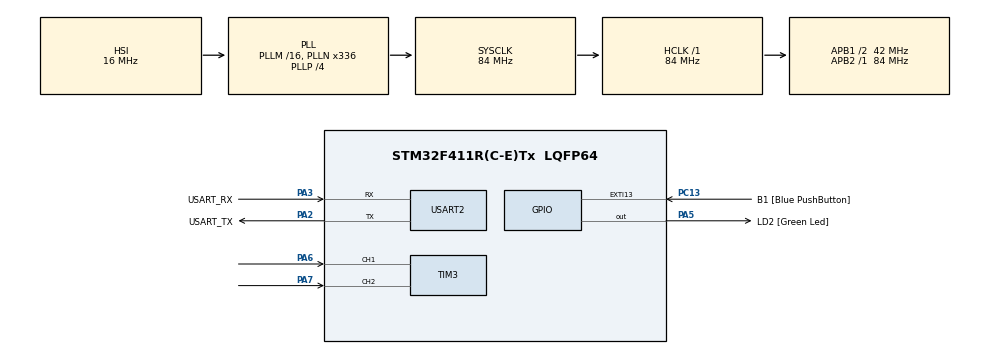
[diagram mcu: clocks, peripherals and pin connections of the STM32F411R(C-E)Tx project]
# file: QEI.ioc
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Mcu.Family=STM32F4
Mcu.Name=STM32F411R(C-E)Tx
Mcu.Package=LQFP64
Mcu.UserConstants=QEI_PERIOD,65412
NVIC.PriorityGroup=NVIC_PRIORITYGROUP_0
NVIC.TIM5_IRQn=true\:0\:0\:false\:false\:true\:true\:true\:true
PA13.GPIO_Label=TMS
PA13.Mode=Trace_Asynchronous_SW
PA13.Signal=SYS_JTMS-SWDIO
PA14.GPIO_Label=TCK
PA14.Mode=Trace_Asynchronous_SW
PA14.Signal=SYS_JTCK-SWCLK
PA2.GPIO_Label=USART_TX
PA2.Mode=Asynchronous
PA2.Signal=USART2_TX
PA3.GPIO_Label=USART_RX
PA3.Mode=Asynchronous
PA3.Signal=USART2_RX
PA5.GPIO_Label=LD2 [Green Led]
PA5.Signal=GPIO_Output
PA6.Signal=S_TIM3_CH1
PA7.Signal=S_TIM3_CH2
PB3.GPIO_Label=SWO
PB3.Mode=Trace_Asynchronous_SW
PB3.Signal=SYS_JTDO-SWO
PC13-ANTI_TAMP.GPIO_Label=B1 [Blue PushButton]
PC13-ANTI_TAMP.GPIO_ModeDefaultEXTI=GPIO_MODE_IT_FALLING
PC13-ANTI_TAMP.Signal=GPXTI13
PC14-OSC32_IN.Mode=LSE-External-Oscillator
PC14-OSC32_IN.Signal=RCC_OSC32_IN
PC15-OSC32_OUT.Mode=LSE-External-Oscillator
PC15-OSC32_OUT.Signal=RCC_OSC32_OUT
PH0\ -\ OSC_IN.Mode=HSE-External-Clock-Source
PH0\ -\ OSC_IN.Signal=RCC_OSC_IN
PH1\ -\ OSC_OUT.Mode=HSE-External-Clock-Source
PH1\ -\ OSC_OUT.Signal=RCC_OSC_OUT
ProjectManager.HeapSize=0x200
ProjectManager.StackSize=0x400
ProjectManager.TargetToolchain=STM32CubeIDE
RCC.48MHZClocksFreq_Value=84000000
RCC.AHBFreq_Value=84000000
RCC.APB1CLKDivider=RCC_HCLK_DIV2
RCC.APB1Freq_Value=42000000
RCC.APB1TimFreq_Value=84000000
RCC.APB2Freq_Value=84000000
RCC.APB2TimFreq_Value=84000000
RCC.CortexFreq_Value=84000000
RCC.FLatency-AdvancedSettings=FLASH_LATENCY_2
RCC.HCLKFreq_Value=84000000
RCC.HSE_VALUE=8000000
RCC.HSI_VALUE=16000000
RCC.PLLN=336
RCC.PLLP=RCC_PLLP_DIV4
RCC.SYSCLKFreq_VALUE=84000000
RCC.SYSCLKSource=RCC_SYSCLKSOURCE_PLLCLK
RCC.VCOOutputFreq_Value=336000000
SH.S_TIM3_CH1.0=TIM3_CH1,Encoder_Interface
SH.S_TIM3_CH2.0=TIM3_CH2,Encoder_Interface
TIM3.EncoderMode=TIM_ENCODERMODE_TI12
TIM3.Period=QEI_PERIOD - 1
TIM5.Prescaler=83
USART2.VirtualMode=VM_ASYNC
VP_TIM5_VS_ClockSourceINT.Mode=Internal
board=NUCLEO-F411RE

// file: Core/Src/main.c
/* USER CODE BEGIN Header */
/**
  ******************************************************************************
  * @file           : main.c
  * @brief          : Main program body
  ******************************************************************************
  * @attention
  *
  * Copyright (c) 2023 STMicroelectronics.
  * All rights reserved.
  *
  * This software is licensed under terms that can be found in the LICENSE file
  * in the root directory of this software component.
  * If no LICENSE file comes with this software, it is provided AS-IS.
  *
  ******************************************************************************
  */
/* USER CODE END Header */
#include "main.h"

TIM_HandleTypeDef htim3;
TIM_HandleTypeDef htim5;

UART_HandleTypeDef huart2;

/* USER CODE BEGIN PV */
uint32_t QEIReadRaw;
float angle;
typedef struct _QEIStructure
{
	uint32_t data[2];
	uint64_t timestamp[2];

	float QEIPosition;
	float QEIVelocity;

}QEIStructureTypedef;

QEIStructureTypedef QEIData = {0};

uint64_t _micros = 0;

/* USER CODE END PV */

void SystemClock_Config(void);
static void MX_GPIO_Init(void);
static void MX_USART2_UART_Init(void);
static void MX_TIM3_Init(void);
static void MX_TIM5_Init(void);
/* USER CODE BEGIN PFP */
inline uint64_t micros();
void QEIEncoderPositionVelocity_Update();
/* USER CODE END PFP */

int main(void)
{

  /* MCU Configuration--------------------------------------------------------*/

  /* Reset of all peripherals, Initializes the Flash interface and the Systick. */
  HAL_Init();

  /* Configure the system clock */
  SystemClock_Config();

  /* Initialize all configured peripherals */
  MX_GPIO_Init();
  MX_USART2_UART_Init();
  MX_TIM3_Init();
  MX_TIM5_Init();
  /* USER CODE BEGIN 2 */
HAL_TIM_Encoder_Start(&htim3,TIM_CHANNEL_1 | TIM_CHANNEL_2);
HAL_TIM_Base_Start(&htim5);
  /* USER CODE END 2 */

  /* Infinite loop */
  while (1)
  {

    /* USER CODE BEGIN 3 */
	  static uint32_t timestamp = 0;
	  if(HAL_GetTick() > timestamp){
		  timestamp = HAL_GetTick() + 10000;
		  QEIReadRaw = __HAL_TIM_GET_COUNTER(&htim3);
		  angle = (QEIReadRaw/3072.0) * 360.0;
		  printf("Position = %ld\n", QEIReadRaw);

		  QEIEncoderPositionVelocity_Update();
	  }

  }
  /* USER CODE END 3 */
}

void SystemClock_Config(void)
{
  RCC_OscInitTypeDef RCC_OscInitStruct = {0};
  RCC_ClkInitTypeDef RCC_ClkInitStruct = {0};

  /** Configure the main internal regulator output voltage
  */
  __HAL_RCC_PWR_CLK_ENABLE();
  __HAL_PWR_VOLTAGESCALING_CONFIG(PWR_REGULATOR_VOLTAGE_SCALE1);

  /** Initializes the RCC Oscillators according to the specified parameters
  * in the RCC_OscInitTypeDef structure.
  */
  RCC_OscInitStruct.OscillatorType = RCC_OSCILLATORTYPE_HSI;
  RCC_OscInitStruct.HSIState = RCC_HSI_ON;
  RCC_OscInitStruct.HSICalibrationValue = RCC_HSICALIBRATION_DEFAULT;
  RCC_OscInitStruct.PLL.PLLState = RCC_PLL_ON;
  RCC_OscInitStruct.PLL.PLLSource = RCC_PLLSOURCE_HSI;
  RCC_OscInitStruct.PLL.PLLM = 16;
  RCC_OscInitStruct.PLL.PLLN = 336;
  RCC_OscInitStruct.PLL.PLLP = RCC_PLLP_DIV4;
  RCC_OscInitStruct.PLL.PLLQ = 4;
  if (HAL_RCC_OscConfig(&RCC_OscInitStruct) != HAL_OK)
  {
    Error_Handler();
  }

  /** Initializes the CPU, AHB and APB buses clocks
  */
  RCC_ClkInitStruct.ClockType = RCC_CLOCKTYPE_HCLK|RCC_CLOCKTYPE_SYSCLK
                              |RCC_CLOCKTYPE_PCLK1|RCC_CLOCKTYPE_PCLK2;
  RCC_ClkInitStruct.SYSCLKSource = RCC_SYSCLKSOURCE_PLLCLK;
  RCC_ClkInitStruct.AHBCLKDivider = RCC_SYSCLK_DIV1;
  RCC_ClkInitStruct.APB1CLKDivider = RCC_HCLK_DIV2;
  RCC_ClkInitStruct.APB2CLKDivider = RCC_HCLK_DIV1;

  if (HAL_RCC_ClockConfig(&RCC_ClkInitStruct, FLASH_LATENCY_2) != HAL_OK)
  {
    Error_Handler();
  }
}

static void MX_TIM3_Init(void)
{

  TIM_Encoder_InitTypeDef sConfig = {0};
  TIM_MasterConfigTypeDef sMasterConfig = {0};

  htim3.Instance = TIM3;
  htim3.Init.Prescaler = 0;
  htim3.Init.CounterMode = TIM_COUNTERMODE_UP;
  htim3.Init.Period = QEI_PERIOD - 1;
  htim3.Init.ClockDivision = TIM_CLOCKDIVISION_DIV1;
  htim3.Init.AutoReloadPreload = TIM_AUTORELOAD_PRELOAD_DISABLE;
  sConfig.EncoderMode = TIM_ENCODERMODE_TI12;
  sConfig.IC1Polarity = TIM_ICPOLARITY_RISING;
  sConfig.IC1Selection = TIM_ICSELECTION_DIRECTTI;
  sConfig.IC1Prescaler = TIM_ICPSC_DIV1;
  sConfig.IC1Filter = 0;
  sConfig.IC2Polarity = TIM_ICPOLARITY_RISING;
  sConfig.IC2Selection = TIM_ICSELECTION_DIRECTTI;
  sConfig.IC2Prescaler = TIM_ICPSC_DIV1;
  sConfig.IC2Filter = 0;
  if (HAL_TIM_Encoder_Init(&htim3, &sConfig) != HAL_OK)
  {
    Error_Handler();
  }
  sMasterConfig.MasterOutputTrigger = TIM_TRGO_RESET;
  sMasterConfig.MasterSlaveMode = TIM_MASTERSLAVEMODE_DISABLE;
  if (HAL_TIMEx_MasterConfigSynchronization(&htim3, &sMasterConfig) != HAL_OK)
  {
    Error_Handler();
  }

}

static void MX_TIM5_Init(void)
{

  TIM_ClockConfigTypeDef sClockSourceConfig = {0};
  TIM_MasterConfigTypeDef sMasterConfig = {0};

  htim5.Instance = TIM5;
  htim5.Init.Prescaler = 83;
  htim5.Init.CounterMode = TIM_COUNTERMODE_UP;
  htim5.Init.Period = 4294967295;
  htim5.Init.ClockDivision = TIM_CLOCKDIVISION_DIV1;
  htim5.Init.AutoReloadPreload = TIM_AUTORELOAD_PRELOAD_DISABLE;
  if (HAL_TIM_Base_Init(&htim5) != HAL_OK)
  {
    Error_Handler();
  }
  sClockSourceConfig.ClockSource = TIM_CLOCKSOURCE_INTERNAL;
  if (HAL_TIM_ConfigClockSource(&htim5, &sClockSourceConfig) != HAL_OK)
  {
    Error_Handler();
  }
  sMasterConfig.MasterOutputTrigger = TIM_TRGO_RESET;
  sMasterConfig.MasterSlaveMode = TIM_MASTERSLAVEMODE_DISABLE;
  if (HAL_TIMEx_MasterConfigSynchronization(&htim5, &sMasterConfig) != HAL_OK)
  {
    Error_Handler();
  }

}

static void MX_USART2_UART_Init(void)
{

  huart2.Instance = USART2;
  huart2.Init.BaudRate = 115200;
  huart2.Init.WordLength = UART_WORDLENGTH_8B;
  huart2.Init.StopBits = UART_STOPBITS_1;
  huart2.Init.Parity = UART_PARITY_NONE;
  huart2.Init.Mode = UART_MODE_TX_RX;
  huart2.Init.HwFlowCtl = UART_HWCONTROL_NONE;
  huart2.Init.OverSampling = UART_OVERSAMPLING_16;
  if (HAL_UART_Init(&huart2) != HAL_OK)
  {
    Error_Handler();
  }

}

static void MX_GPIO_Init(void)
{
  GPIO_InitTypeDef GPIO_InitStruct = {0};

  /* GPIO Ports Clock Enable */
  __HAL_RCC_GPIOC_CLK_ENABLE();
  __HAL_RCC_GPIOH_CLK_ENABLE();
  __HAL_RCC_GPIOA_CLK_ENABLE();
  __HAL_RCC_GPIOB_CLK_ENABLE();

  /*Configure GPIO pin Output Level */
  HAL_GPIO_WritePin(LD2_GPIO_Port, LD2_Pin, GPIO_PIN_RESET);

  /*Configure GPIO pin : B1_Pin */
  GPIO_InitStruct.Pin = B1_Pin;
  GPIO_InitStruct.Mode = GPIO_MODE_IT_FALLING;
  GPIO_InitStruct.Pull = GPIO_NOPULL;
  HAL_GPIO_Init(B1_GPIO_Port, &GPIO_InitStruct);

  /*Configure GPIO pin : LD2_Pin */
  GPIO_InitStruct.Pin = LD2_Pin;
  GPIO_InitStruct.Mode = GPIO_MODE_OUTPUT_PP;
  GPIO_InitStruct.Pull = GPIO_NOPULL;
  GPIO_InitStruct.Speed = GPIO_SPEED_FREQ_LOW;
  HAL_GPIO_Init(LD2_GPIO_Port, &GPIO_InitStruct);

}

/* USER CODE BEGIN 4 */
int _write(int file,char *ptr,int len)
{
	int i;
	for(i = 0;i<len;i++)
	{
		ITM_SendChar(*ptr++);
	}
	return len;
}

void HAL_TIM_PeriodElapsedCallback(TIM_HandleTypeDef *htim)
{
	if(htim == &htim5)
	{
		_micros += UINT32_MAX;
	}
}

uint64_t micros()
{
	return __HAL_TIM_GET_COUNTER(&htim5) + _micros;
}

void QEIEncoderPositionVelocity_Update(){
    // collect data
    QEIData.timestamp[0] = micros();
    uint32_t counterPosition = __HAL_TIM_GET_COUNTER(&htim3);
    QEIData.data[0] = counterPosition;

    // calculation
    QEIData.QEIPosition = counterPosition % 3072;

    int32_t diffPosition = QEIData.data[0] - QEIData.data[1];
    float difftime = (QEIData.timestamp[0] - QEIData.timestamp[1]);

    // wrapping
    if(diffPosition > QEI_PERIOD>>1) diffPosition -= QEI_PERIOD;
    if(diffPosition < -(QEI_PERIOD>>1)) diffPosition += QEI_PERIOD;

    // calculate speed
    QEIData.QEIVelocity = (diffPosition * 1000000) / difftime;

    QEIData.data[1] = QEIData.data[0];
    QEIData.timestamp[1] = QEIData.timestamp[0];
}
/* USER CODE END 4 */

void Error_Handler(void)
{
  __disable_irq();
  while (1)
  {
  }
}
